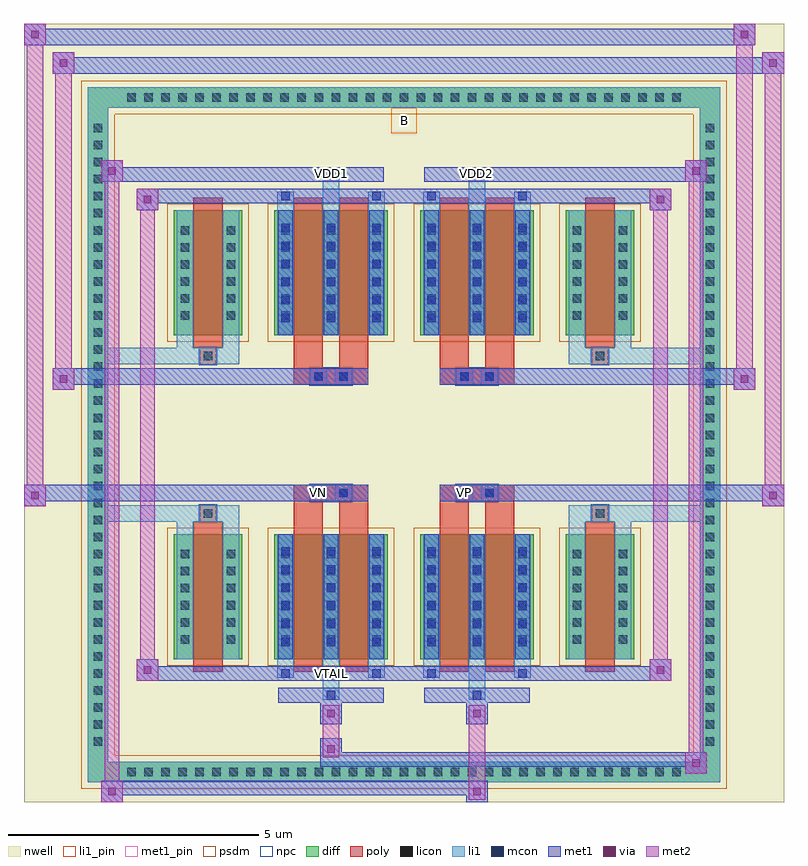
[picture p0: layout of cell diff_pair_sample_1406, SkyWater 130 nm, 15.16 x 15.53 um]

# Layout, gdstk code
import gdstk
lib = gdstk.Library(unit=1e-6, precision=5e-09)
def R(c, l, rs):  # rectangles x0, y0, x1, y1
    for r in rs: c.add(gdstk.rectangle(r[:2], r[2:], *l))
def A(c, l, x, y, w, h, nx, ny, dx, dy):  # array of equal rectangles
    R(c, l, [(x+i*dx, y+j*dy, x+i*dx+w, y+j*dy+h) for i in range(nx) for j in range(ny)])
def P(c, l, *ps):  # polygons
    for p in ps: c.add(gdstk.Polygon(p, *l))
nwell = (64, 20)
diff = (65, 20)
poly = (66, 20)
licon = (66, 44)
li1_pin = (67, 16)
li1 = (67, 20)
mcon = (67, 44)
met1_pin = (68, 16)
met1 = (68, 20)
via = (68, 44)
met2 = (69, 20)
psdm = (94, 20)
npc = (95, 20)

diff_pair_sample_1406 = lib.new_cell('diff_pair_sample_1406')
R(diff_pair_sample_1406, nwell, [(-7.58,-7.33,7.58,8.2), (-4.9,-5.52,-0.01,-0.8), (0.01,-5.52,4.9,-0.8), (-4.9,0.8,-0.01,5.52), (0.01,0.8,4.9,5.52)])
A(diff_pair_sample_1406, diff, -5.645, -6.93, 0.41, 0.41, 33, 2, 0.34, 13.45)
A(diff_pair_sample_1406, diff, -6.31, -6.325, 0.41, 0.41, 1, 37, 0, 0.34)
A(diff_pair_sample_1406, diff, 5.9, -6.325, 0.41, 0.41, 1, 37, 0, 0.34)
R(diff_pair_sample_1406, diff, [(-5.645,-6.93,5.645,-6.52), (-6.31,-6.325,-5.9,6.325), (5.9,-6.325,6.31,6.325), (-4.59,-4.475,-3.23,-1.985), (-2.59,-4.475,-0.32,-1.985), (0.32,-4.475,2.59,-1.985), (3.23,-4.475,4.59,-1.985), (-4.59,1.985,-3.23,4.475), (-2.59,1.985,-0.32,4.475), (0.32,1.985,2.59,4.475), (3.23,1.985,4.59,4.475), (-5.645,6.52,5.645,6.93)])
P(diff_pair_sample_1406, diff, [(6.31,6.93),(-6.31,6.93),(-6.31,-6.52),(-5.9,-6.52),(-5.9,6.52),(5.9,6.52),(5.9,-6.52),(-5.9,-6.52),(-6.31,-6.52),(-6.31,-6.93),(6.31,-6.93)])
R(diff_pair_sample_1406, poly, [(-4.2,-4.725,-3.62,-1.735), (-2.2,-4.725,-1.62,-1.735), (-1.29,-4.725,-0.71,-1.735), (0.71,-4.725,1.29,-1.735), (1.62,-4.725,2.2,-1.735), (3.62,-4.725,4.2,-1.735), (-4.075,-1.735,-3.745,-1.405), (-4.075,-1.735,-3.745,-1.405), (-2.2,-1.735,-1.62,-1.33), (-1.29,-1.735,-0.71,-1.33), (0.71,-1.735,1.29,-1.33), (1.62,-1.735,2.2,-1.33), (3.745,-1.735,4.075,-1.405), (3.745,-1.735,4.075,-1.405), (-2.2,-1.33,-0.71,-1), (-1.87,-1.33,-1.54,-1), (-1.37,-1.33,-1.04,-1), (0.71,-1.33,2.2,-1), (1.04,-1.33,1.37,-1), (1.54,-1.33,1.87,-1), (-2.2,1,-0.71,1.33), (-1.87,1,-1.54,1.33), (-1.37,1,-1.04,1.33), (0.71,1,2.2,1.33), (1.04,1,1.37,1.33), (1.54,1,1.87,1.33), (-2.2,1.33,-1.62,1.735), (-1.29,1.33,-0.71,1.735), (0.71,1.33,1.29,1.735), (1.62,1.33,2.2,1.735), (-4.075,1.405,-3.745,1.735), (-4.075,1.405,-3.745,1.735), (3.745,1.405,4.075,1.735), (3.745,1.405,4.075,1.735), (-4.2,1.735,-3.62,4.725), (-2.2,1.735,-1.62,4.725), (-1.29,1.735,-0.71,4.725), (0.71,1.735,1.29,4.725), (1.62,1.735,2.2,4.725), (3.62,1.735,4.2,4.725)])
A(diff_pair_sample_1406, licon, -5.525, -6.81, 0.17, 0.17, 33, 2, 0.34, 13.45)
A(diff_pair_sample_1406, licon, -6.19, -6.205, 0.17, 0.17, 1, 37, 0, 0.34)
A(diff_pair_sample_1406, licon, 6.02, -6.205, 0.17, 0.17, 1, 37, 0, 0.34)
A(diff_pair_sample_1406, licon, -4.45, -4.165, 0.17, 0.17, 1, 6, 0, 0.34)
A(diff_pair_sample_1406, licon, -3.54, -4.165, 0.17, 0.17, 1, 6, 0, 0.34)
A(diff_pair_sample_1406, licon, -2.45, -4.165, 0.17, 0.17, 3, 6, 0.91, 0.34)
A(diff_pair_sample_1406, licon, 0.46, -4.165, 0.17, 0.17, 3, 6, 0.91, 0.34)
A(diff_pair_sample_1406, licon, 3.37, -4.165, 0.17, 0.17, 1, 6, 0, 0.34)
A(diff_pair_sample_1406, licon, 4.28, -4.165, 0.17, 0.17, 1, 6, 0, 0.34)
A(diff_pair_sample_1406, licon, -4.45, 2.295, 0.17, 0.17, 1, 6, 0, 0.34)
A(diff_pair_sample_1406, licon, -3.54, 2.295, 0.17, 0.17, 1, 6, 0, 0.34)
A(diff_pair_sample_1406, licon, -2.45, 2.295, 0.17, 0.17, 3, 6, 0.91, 0.34)
A(diff_pair_sample_1406, licon, 0.46, 2.295, 0.17, 0.17, 3, 6, 0.91, 0.34)
A(diff_pair_sample_1406, licon, 3.37, 2.295, 0.17, 0.17, 1, 6, 0, 0.34)
A(diff_pair_sample_1406, licon, 4.28, 2.295, 0.17, 0.17, 1, 6, 0, 0.34)
R(diff_pair_sample_1406, licon, [(-3.995,-1.655,-3.825,-1.485), (3.825,-1.655,3.995,-1.485), (-1.79,-1.25,-1.62,-1.08), (-1.29,-1.25,-1.12,-1.08), (1.12,-1.25,1.29,-1.08), (1.62,-1.25,1.79,-1.08), (-1.79,1.08,-1.62,1.25), (-1.29,1.08,-1.12,1.25), (1.12,1.08,1.29,1.25), (1.62,1.08,1.79,1.25), (-3.995,1.485,-3.825,1.655), (3.825,1.485,3.995,1.655)])
R(diff_pair_sample_1406, li1_pin, [(-0.25,6.02,0.25,6.52)])
A(diff_pair_sample_1406, li1, -5.605, -6.89, 0.33, 0.33, 33, 2, 0.34, 13.45)
A(diff_pair_sample_1406, li1, -6.27, -6.285, 0.33, 0.33, 1, 37, 0, 0.34)
A(diff_pair_sample_1406, li1, 5.94, -6.285, 0.33, 0.33, 1, 37, 0, 0.34)
A(diff_pair_sample_1406, li1, -2.53, -4.475, 0.33, 2.49, 3, 2, 0.91, 6.46)
A(diff_pair_sample_1406, li1, 0.38, -4.475, 0.33, 2.49, 3, 2, 0.91, 6.46)
A(diff_pair_sample_1406, li1, -4.53, -4.245, 0.33, 0.33, 1, 6, 0, 0.34)
A(diff_pair_sample_1406, li1, -3.62, -4.245, 0.33, 0.33, 1, 6, 0, 0.34)
A(diff_pair_sample_1406, li1, -2.53, -4.245, 0.33, 0.33, 3, 6, 0.91, 0.34)
A(diff_pair_sample_1406, li1, 0.38, -4.245, 0.33, 0.33, 3, 6, 0.91, 0.34)
A(diff_pair_sample_1406, li1, 3.29, -4.245, 0.33, 0.33, 1, 6, 0, 0.34)
A(diff_pair_sample_1406, li1, 4.2, -4.245, 0.33, 0.33, 1, 6, 0, 0.34)
A(diff_pair_sample_1406, li1, -2.45, -4.215, 0.17, 0.17, 3, 6, 0.91, 0.36)
A(diff_pair_sample_1406, li1, -2.45, -4.215, 0.17, 1.97, 3, 2, 0.91, 6.46)
A(diff_pair_sample_1406, li1, 0.46, -4.215, 0.17, 0.17, 3, 6, 0.91, 0.36)
A(diff_pair_sample_1406, li1, 0.46, -4.215, 0.17, 1.97, 3, 2, 0.91, 6.46)
A(diff_pair_sample_1406, li1, -4.53, 2.215, 0.33, 0.33, 1, 6, 0, 0.34)
A(diff_pair_sample_1406, li1, -3.62, 2.215, 0.33, 0.33, 1, 6, 0, 0.34)
A(diff_pair_sample_1406, li1, -2.53, 2.215, 0.33, 0.33, 3, 6, 0.91, 0.34)
A(diff_pair_sample_1406, li1, 0.38, 2.215, 0.33, 0.33, 3, 6, 0.91, 0.34)
A(diff_pair_sample_1406, li1, 3.29, 2.215, 0.33, 0.33, 1, 6, 0, 0.34)
A(diff_pair_sample_1406, li1, 4.2, 2.215, 0.33, 0.33, 1, 6, 0, 0.34)
A(diff_pair_sample_1406, li1, -2.45, 2.245, 0.17, 0.17, 3, 6, 0.91, 0.36)
A(diff_pair_sample_1406, li1, 0.46, 2.245, 0.17, 0.17, 3, 6, 0.91, 0.36)
R(diff_pair_sample_1406, li1, [(-6.31,-6.93,-5.9,-6.52), (-6.31,-6.93,-5.9,-6.52), (-5.9,-6.93,5.9,-6.52), (5.9,-6.93,6.31,-6.52), (5.9,-6.93,6.31,-6.52), (-6.31,-6.52,-5.9,6.52), (5.9,-6.52,6.31,6.52), (-1.62,-5.28,-1.29,-4.475), (-1.54,-5.28,-1.37,-5.11), (1.29,-5.28,1.62,-4.475), (1.37,-5.28,1.54,-5.11), (-2.53,-4.85,-2.2,-4.475), (-2.45,-4.85,-2.28,-4.68), (-0.71,-4.85,-0.38,-4.475), (-0.63,-4.85,-0.46,-4.68), (0.38,-4.85,0.71,-4.475), (0.46,-4.85,0.63,-4.68), (2.2,-4.85,2.53,-4.475), (2.28,-4.85,2.45,-4.68), (-4.53,-4.475,-4.2,-1.985), (-3.62,-4.475,-3.29,-1.985), (3.29,-4.475,3.62,-1.985), (4.2,-4.475,4.53,-1.985), (-4.53,-1.985,-4.2,-1.405), (-3.62,-1.985,-3.29,-1.405), (3.29,-1.985,3.62,-1.405), (4.2,-1.985,4.53,-1.405), (-6.31,-1.735,-4.075,-1.405), (-4.53,-1.735,-4.075,-1.405), (-4.075,-1.735,-3.745,-1.405), (-3.745,-1.735,-3.29,-1.405), (3.29,-1.735,3.745,-1.405), (3.745,-1.735,4.075,-1.405), (3.745,-1.735,6.31,-1.405), (4.075,-1.735,4.53,-1.405), (-1.87,-1.33,-1.54,-1), (-1.37,-1.33,-1.04,-1), (1.04,-1.33,1.37,-1), (1.54,-1.33,1.87,-1), (-1.87,1,-1.54,1.33), (-1.37,1,-1.04,1.33), (1.04,1,1.37,1.33), (1.54,1,1.87,1.33), (-6.31,1.405,-4.075,1.735), (-4.53,1.405,-4.075,1.735), (-4.53,1.405,-4.2,1.985), (-4.075,1.405,-3.745,1.735), (-3.745,1.405,-3.29,1.735), (-3.62,1.405,-3.29,1.985), (3.29,1.405,3.745,1.735), (3.29,1.405,3.62,1.985), (3.745,1.405,4.075,1.735), (3.745,1.405,6.31,1.735), (4.075,1.405,4.53,1.735), (4.2,1.405,4.53,1.985), (-4.53,1.985,-4.2,4.475), (-3.62,1.985,-3.29,4.475), (3.29,1.985,3.62,4.475), (4.2,1.985,4.53,4.475), (-2.53,4.475,-2.2,4.85), (-1.62,4.475,-1.29,5.28), (-0.71,4.475,-0.38,4.85), (0.38,4.475,0.71,4.85), (1.29,4.475,1.62,5.28), (2.2,4.475,2.53,4.85), (-2.45,4.68,-2.28,4.85), (-0.63,4.68,-0.46,4.85), (0.46,4.68,0.63,4.85), (2.28,4.68,2.45,4.85), (-1.54,5.11,-1.37,5.28), (1.37,5.11,1.54,5.28), (-6.31,6.52,-5.9,6.93), (-6.31,6.52,-5.9,6.93), (-5.9,6.52,5.9,6.93), (5.9,6.52,6.31,6.93), (5.9,6.52,6.31,6.93)])
A(diff_pair_sample_1406, mcon, -2.45, -4.215, 0.17, 0.17, 3, 6, 0.91, 0.36)
A(diff_pair_sample_1406, mcon, 0.46, -4.215, 0.17, 0.17, 3, 6, 0.91, 0.36)
A(diff_pair_sample_1406, mcon, -2.45, 2.245, 0.17, 0.17, 3, 6, 0.91, 0.36)
A(diff_pair_sample_1406, mcon, 0.46, 2.245, 0.17, 0.17, 3, 6, 0.91, 0.36)
R(diff_pair_sample_1406, mcon, [(-1.54,-5.28,-1.37,-5.11), (1.37,-5.28,1.54,-5.11), (-2.45,-4.85,-2.28,-4.68), (-0.63,-4.85,-0.46,-4.68), (0.46,-4.85,0.63,-4.68), (2.28,-4.85,2.45,-4.68), (-1.79,-1.25,-1.62,-1.08), (-1.29,-1.25,-1.12,-1.08), (1.12,-1.25,1.29,-1.08), (1.62,-1.25,1.79,-1.08), (-1.79,1.08,-1.62,1.25), (-1.29,1.08,-1.12,1.25), (1.12,1.08,1.29,1.25), (1.62,1.08,1.79,1.25), (-2.45,4.68,-2.28,4.85), (-0.63,4.68,-0.46,4.85), (0.46,4.68,0.63,4.85), (2.28,4.68,2.45,4.85), (-1.54,5.11,-1.37,5.28), (1.37,5.11,1.54,5.28)])
R(diff_pair_sample_1406, met1_pin, [(-1.59,-4.89,-1.32,-4.62), (-1.84,-1.29,-1.57,-1.02), (1.07,-1.29,1.34,-1.02), (-1.59,5.07,-1.32,5.34), (1.32,5.07,1.59,5.34)])
A(diff_pair_sample_1406, met1, -2.51, -4.475, 0.29, 2.49, 3, 2, 0.91, 6.46)
A(diff_pair_sample_1406, met1, 0.4, -4.475, 0.29, 2.49, 3, 2, 0.91, 6.46)
A(diff_pair_sample_1406, met1, -2.51, -4.275, 0.29, 0.29, 3, 6, 0.91, 0.36)
A(diff_pair_sample_1406, met1, 0.4, -4.275, 0.29, 0.29, 3, 6, 0.91, 0.36)
A(diff_pair_sample_1406, met1, -2.51, 2.185, 0.29, 0.29, 3, 6, 0.91, 0.36)
A(diff_pair_sample_1406, met1, 0.4, 2.185, 0.29, 0.29, 3, 6, 0.91, 0.36)
R(diff_pair_sample_1406, met1, [(-6.04,-7.33,-5.61,-6.9), (1.24,-7.33,1.67,-6.9), (-6.04,-7.19,1.67,-6.9), (5.61,-6.76,6.04,-6.33), (-1.67,-6.62,6.04,-6.33), (-1.67,-6.48,-1.24,-6.05), (-1.67,-5.77,-1.24,-5.34), (1.24,-5.77,1.67,-5.34), (-2.51,-5.34,-0.4,-5.05), (-1.6,-5.34,-1.31,-5.05), (0.4,-5.34,2.51,-5.05), (1.31,-5.34,1.6,-5.05), (-5.33,-4.91,-4.9,-4.48), (-5.33,-4.91,-2.51,-4.62), (-2.51,-4.91,-2.22,-4.62), (-2.51,-4.91,-0.4,-4.62), (-0.69,-4.91,-0.4,-4.62), (-0.4,-4.91,0.4,-4.62), (0.4,-4.91,0.69,-4.62), (0.4,-4.91,2.51,-4.62), (2.22,-4.91,2.51,-4.62), (2.51,-4.91,5.33,-4.62), (4.9,-4.91,5.33,-4.48), (-7.58,-1.43,-7.15,-1), (7.15,-1.43,7.58,-1), (-7.58,-1.33,-0.71,-1), (-2.2,-1.33,-0.71,-1), (0.71,-1.33,2.2,-1), (0.71,-1.33,7.58,-1), (-1.85,-1.31,-1.56,-1.02), (-1.35,-1.31,-1.06,-1.02), (1.06,-1.31,1.35,-1.02), (1.56,-1.31,1.85,-1.02), (-7.01,0.9,-6.58,1.33), (6.58,0.9,7.01,1.33), (-7.01,1,-2.2,1.33), (-2.2,1,-0.71,1.33), (0.71,1,2.2,1.33), (2.2,1,7.01,1.33), (-1.85,1.02,-1.56,1.31), (-1.35,1.02,-1.06,1.31), (1.06,1.02,1.35,1.31), (1.56,1.02,1.85,1.31), (-5.33,4.48,-4.9,4.91), (4.9,4.48,5.33,4.91), (-5.33,4.62,-2.51,4.91), (-2.51,4.62,-2.22,4.91), (-2.51,4.62,-0.4,4.91), (-0.69,4.62,-0.4,4.91), (-0.4,4.62,0.4,4.91), (0.4,4.62,0.69,4.91), (0.4,4.62,2.51,4.91), (2.22,4.62,2.51,4.91), (2.51,4.62,5.33,4.91), (-6.04,5.05,-5.61,5.48), (-6.04,5.05,-2.51,5.34), (-2.51,5.05,-0.4,5.34), (-1.6,5.05,-1.31,5.34), (0.4,5.05,2.51,5.34), (1.31,5.05,1.6,5.34), (2.51,5.05,6.04,5.34), (5.61,5.05,6.04,5.48), (-7.01,7.2,-6.58,7.63), (-7.01,7.2,-4.9,7.53), (-4.9,7.2,4.9,7.53), (4.9,7.2,7.58,7.53), (7.15,7.2,7.58,7.63), (-7.58,7.77,-7.15,8.2), (-7.58,7.77,-4.9,8.1), (-4.9,7.77,4.9,8.1), (4.9,7.77,7.01,8.1), (6.58,7.77,7.01,8.2)])
R(diff_pair_sample_1406, via, [(-5.9,-7.19,-5.75,-7.04), (1.38,-7.19,1.53,-7.04), (5.75,-6.62,5.9,-6.47), (-1.53,-6.34,-1.38,-6.19), (-1.53,-5.63,-1.38,-5.48), (1.38,-5.63,1.53,-5.48), (-5.19,-4.77,-5.04,-4.62), (5.04,-4.77,5.19,-4.62), (-7.44,-1.29,-7.29,-1.14), (7.29,-1.29,7.44,-1.14), (-6.87,1.04,-6.72,1.19), (6.72,1.04,6.87,1.19), (-5.19,4.62,-5.04,4.77), (5.04,4.62,5.19,4.77), (-5.9,5.19,-5.75,5.34), (5.75,5.19,5.9,5.34), (-6.87,7.34,-6.72,7.49), (7.29,7.34,7.44,7.49), (-7.44,7.91,-7.29,8.06), (6.72,7.91,6.87,8.06)])
R(diff_pair_sample_1406, met2, [(-6.04,-7.33,-5.61,-6.9), (-5.97,-7.33,-5.68,5.48), (-5.68,-7.33,-5.61,-6.9), (-5.99,-7.28,-5.66,-6.95), (1.29,-7.28,1.62,-6.95), (1.29,-6.95,1.62,-5.72), (5.61,-6.76,6.04,-6.33), (5.68,-6.76,5.97,5.48), (5.97,-6.76,6.04,-6.33), (5.66,-6.71,5.99,-6.38), (-1.62,-6.43,-1.29,-6.1), (-1.62,-6.1,-1.29,-5.72), (-1.62,-5.72,-1.29,-5.39), (1.29,-5.72,1.62,-5.39), (-5.33,-4.91,-4.9,-4.48), (-5.26,-4.91,-4.97,4.91), (-4.97,-4.91,-4.9,-4.48), (4.9,-4.91,5.33,-4.48), (4.97,-4.91,5.26,4.91), (5.26,-4.91,5.33,-4.48), (-5.28,-4.86,-4.95,-4.53), (4.95,-4.86,5.28,-4.53), (-7.58,-1.43,-7.15,-1), (-7.53,-1.43,-7.2,8.2), (-7.2,-1.43,-7.15,-1), (7.15,-1.43,7.58,-1), (7.2,-1.43,7.53,7.63), (7.53,-1.43,7.58,-1), (-7.53,-1.38,-7.2,-1.05), (7.2,-1.38,7.53,-1.05), (-7.01,0.9,-6.58,1.33), (-6.96,0.9,-6.63,7.63), (-6.63,0.9,-6.58,1.33), (6.58,0.9,7.01,1.33), (6.63,0.9,6.96,8.2), (6.96,0.9,7.01,1.33), (-6.96,0.95,-6.63,1.28), (6.63,0.95,6.96,1.28), (-5.33,4.48,-4.9,4.91), (-4.97,4.48,-4.9,4.91), (4.9,4.48,5.33,4.91), (5.26,4.48,5.33,4.91), (-5.28,4.53,-4.95,4.86), (4.95,4.53,5.28,4.86), (-6.04,5.05,-5.61,5.48), (-5.68,5.05,-5.61,5.48), (5.61,5.05,6.04,5.48), (5.97,5.05,6.04,5.48), (-5.99,5.1,-5.66,5.43), (5.66,5.1,5.99,5.43), (-7.01,7.2,-6.58,7.63), (-6.63,7.2,-6.58,7.63), (7.15,7.2,7.58,7.63), (7.53,7.2,7.58,7.63), (-6.96,7.25,-6.63,7.58), (7.2,7.25,7.53,7.58), (-7.58,7.77,-7.15,8.2), (-7.2,7.77,-7.15,8.2), (6.58,7.77,7.01,8.2), (6.96,7.77,7.01,8.2), (-7.53,7.82,-7.2,8.15), (6.63,7.82,6.96,8.15)])
R(diff_pair_sample_1406, psdm, [(-4.72,-4.605,-3.1,-1.855), (-2.72,-4.605,-0.19,-1.855), (0.19,-4.605,2.72,-1.855), (3.1,-4.605,4.72,-1.855), (-4.72,1.855,-3.1,4.605), (-2.72,1.855,-0.19,4.605), (0.19,1.855,2.72,4.605), (3.1,1.855,4.72,4.605)])
P(diff_pair_sample_1406, psdm, [(6.44,7.06),(-6.44,7.06),(-6.44,-6.39),(-5.77,-6.39),(-5.77,6.39),(5.77,6.39),(5.77,-6.39),(-5.77,-6.39),(-6.44,-6.39),(-6.44,-7.06),(6.44,-7.06)])
R(diff_pair_sample_1406, npc, [(-4.095,-1.755,-3.725,-1.385), (3.725,-1.755,4.095,-1.385), (-1.89,-1.35,-1.52,-0.98), (-1.89,-1.35,-1.02,-0.98), (-1.89,-1.35,-1.02,-0.98), (-1.39,-1.35,-1.02,-0.98), (1.02,-1.35,1.39,-0.98), (1.02,-1.35,1.89,-0.98), (1.02,-1.35,1.89,-0.98), (1.52,-1.35,1.89,-0.98), (-1.89,0.98,-1.52,1.35), (-1.89,0.98,-1.02,1.35), (-1.89,0.98,-1.02,1.35), (-1.39,0.98,-1.02,1.35), (1.02,0.98,1.39,1.35), (1.02,0.98,1.89,1.35), (1.02,0.98,1.89,1.35), (1.52,0.98,1.89,1.35), (-4.095,1.385,-3.725,1.755), (3.725,1.385,4.095,1.755)])
diff_pair_sample_1406.add(gdstk.Label('VTAIL', (-1.455,-4.755), layer=68, texttype=5))
diff_pair_sample_1406.add(gdstk.Label('VN', (-1.705,-1.155), layer=68, texttype=5))
diff_pair_sample_1406.add(gdstk.Label('VP', (1.205,-1.155), layer=68, texttype=5))
diff_pair_sample_1406.add(gdstk.Label('B', (0,6.27), layer=67, texttype=5))
diff_pair_sample_1406.add(gdstk.Label('VDD2', (1.455,5.205), layer=68, texttype=5))
diff_pair_sample_1406.add(gdstk.Label('VDD1', (-1.455,5.205), layer=68, texttype=5))

lib.write_gds('diff_pair_sample_1406.gds')
